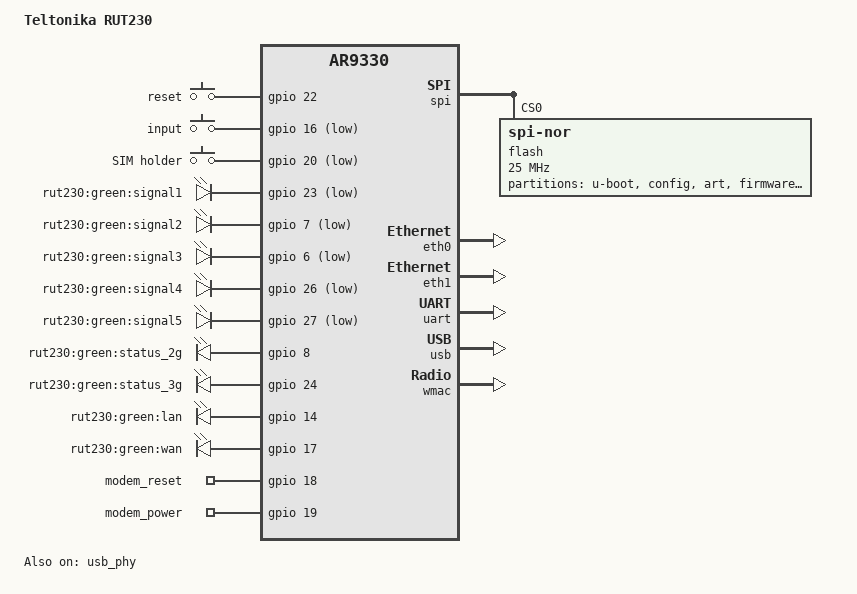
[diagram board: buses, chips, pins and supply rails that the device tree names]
// SPDX-License-Identifier: GPL-2.0-or-later OR MIT
/dts-v1/;

#include <dt-bindings/gpio/gpio.h>
#include <dt-bindings/input/input.h>

#include "ar9330.dtsi"

/ {
	compatible = "teltonika,rut230", "qca,ar9330";
	model = "Teltonika RUT230";

	chosen {
		bootargs = "console=ttyATH0,115200 root=31:05 rootfstype=squashfs";
	};

	aliases {
		serial0 = &uart;
		led-boot = &led_signal5;
		led-failsafe = &led_signal5;
		led-upgrade = &led_signal5;
	};

	keys {
		compatible = "gpio-keys";

		reset {
			label = "reset";
			linux,code = <KEY_RESTART>;
			gpios = <&gpio 22 GPIO_ACTIVE_HIGH>;
			debounce-interval = <60>;
		};

		input {
			label = "input";
			linux,code = <BTN_0>;
			gpios = <&gpio 16 GPIO_ACTIVE_LOW>;
			debounce-interval = <60>;
		};

		sim {
			label = "SIM holder";
			linux,code = <BTN_1>;
			gpios = <&gpio 20 GPIO_ACTIVE_LOW>;
			debounce-interval = <60>;
		};
	};

	leds {
		compatible = "gpio-leds";

		signal1 {
			label = "rut230:green:signal1";
			gpios = <&gpio 23 GPIO_ACTIVE_LOW>;
		};

		signal2 {
			label = "rut230:green:signal2";
			gpios = <&gpio 7 GPIO_ACTIVE_LOW>;
		};

		signal3 {
			label = "rut230:green:signal3";
			gpios = <&gpio 6 GPIO_ACTIVE_LOW>;
		};

		signal4 {
			label = "rut230:green:signal4";
			gpios = <&gpio 26 GPIO_ACTIVE_LOW>;
		};

		led_signal5: signal5 {
			label = "rut230:green:signal5";
			gpios = <&gpio 27 GPIO_ACTIVE_LOW>;
		};

		status_2g {
			label = "rut230:green:status_2g";
			gpios = <&gpio 8 GPIO_ACTIVE_HIGH>;
		};

		status_3g {
			label = "rut230:green:status_3g";
			gpios = <&gpio 24 GPIO_ACTIVE_HIGH>;
		};

		lan {
			label = "rut230:green:lan";
			gpios = <&gpio 14 GPIO_ACTIVE_HIGH>;
		};

		wan {
			label = "rut230:green:wan";
			gpios = <&gpio 17 GPIO_ACTIVE_HIGH>;
		};
	};

	gpio-export {
		compatible = "gpio-export";
		#size-cells = <0>;

		gpio_modem_reset {
			gpio-export,name = "modem_reset";
			gpio-export,output = <0>;
			gpios = <&gpio 18 GPIO_ACTIVE_HIGH>;
		};

		gpio_modem_power {
			gpio-export,name = "modem_power";
			gpio-export,output = <1>;
			gpios = <&gpio 19 GPIO_ACTIVE_HIGH>;
		};
	};
};

&spi {
	status = "okay";

	num-cs = <1>;

	flash@0 {
		compatible = "jedec,spi-nor";
		reg = <0>;
		spi-max-frequency = <25000000>;

		partitions {
			compatible = "fixed-partitions";
			#address-cells = <1>;
			#size-cells = <1>;

			partition@0 {
				reg = <0x0 0x20000>;
				label = "u-boot";
				read-only;
			};

			config: partition@20000 {
				reg = <0x20000 0x10000>;
				label = "config";
				read-only;
			};

			art: partition@30000 {
				reg = <0x30000 0x10000>;
				label = "art";
				read-only;
			};

			partition@40000 {
				compatible = "tplink,firmware";
				reg = <0x40000 0xf30000>;
				label = "firmware";
			};

			partition@f70000 {
				reg = <0xf70000 0x90000>;
				label = "event-log";
				read-only;
			};
		};
	};
};

&eth0 {
	status = "okay";

	mtd-mac-address = <&config 0x0>;
	mtd-mac-address-increment = <1>;

	gmac-config {
		device = <&gmac>;

		switch-phy-addr-swap = <0>;
		switch-phy-swap = <0>;
	};
};

&eth1 {
	status = "okay";

	mtd-mac-address = <&config 0x0>;
};

&gpio {
	status = "okay";
};

&uart {
	status = "okay";
};

&usb {
	status = "okay";
};

&usb_phy {
	status = "okay";
};

&wmac {
	status = "okay";

	mtd-mac-address = <&config 0x0>;
	mtd-mac-address-increment = <2>;
};
